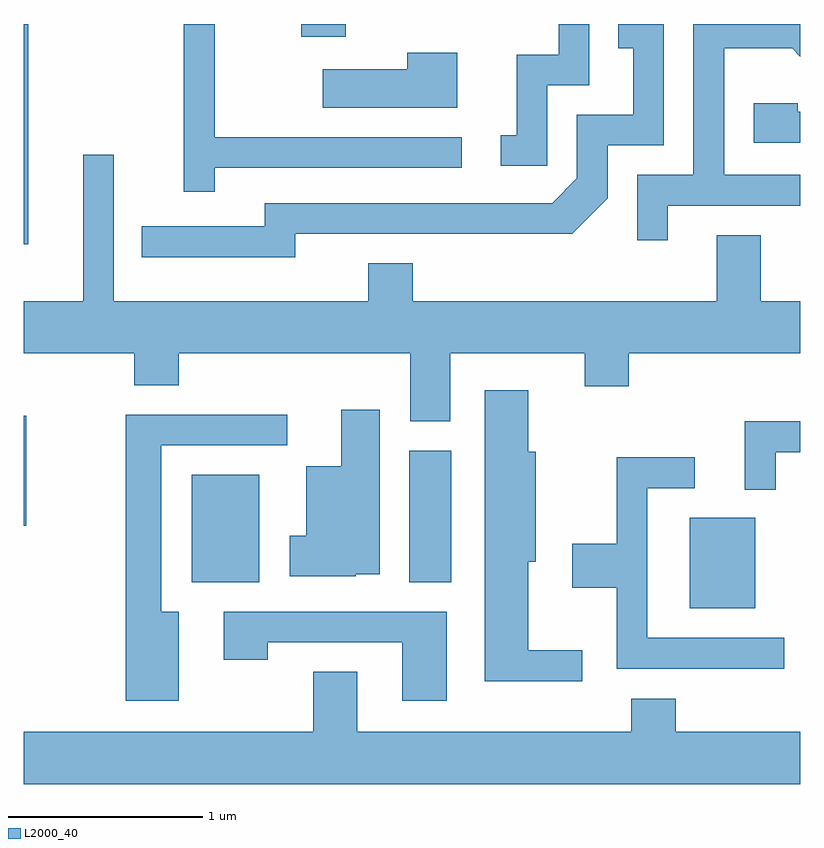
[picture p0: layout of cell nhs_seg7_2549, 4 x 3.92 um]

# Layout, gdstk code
import gdstk
lib = gdstk.Library(unit=1e-6, precision=1e-09)
def R(c, l, rs):  # rectangles x0, y0, x1, y1
    for r in rs: c.add(gdstk.rectangle(r[:2], r[2:], *l))
def P(c, l, *ps):  # polygons
    for p in ps: c.add(gdstk.Polygon(p, *l))
L2000_40 = (2000, 40)

nhs_seg7_2549 = lib.new_cell('nhs_seg7_2549')
R(nhs_seg7_2549, L2000_40, [(267.041,1695.241,267.379,1695.709), (264.476,1695.376,264.824,1695.929), (265.596,1695.376,265.814,1696.054), (263.611,1695.666,263.624,1696.234), (263.611,1697.116,263.634,1698.252), (265.041,1698.186,265.269,1698.252)])
P(nhs_seg7_2549, L2000_40, [(264.594,1697.511),(265.868,1697.511),(265.868,1697.669),(264.594,1697.669),(264.594,1698.252),(264.436,1698.252),(264.436,1697.388),(264.594,1697.388)],
  [(266.929,1697.316),(267.611,1697.316),(267.611,1697.474),(267.219,1697.474),(267.219,1698.126),(267.569,1698.126),(267.611,1698.084),(267.611,1698.252),(267.061,1698.252),(267.061,1697.474),(266.771,1697.474),(266.771,1697.138),(266.929,1697.138)],
  [(265.009,1697.171),(266.437,1697.171),(266.619,1697.354),(266.619,1697.626),(266.909,1697.626),(266.909,1698.252),(266.673,1698.252),(266.673,1698.126),(266.751,1698.126),(266.751,1697.784),(266.461,1697.784),(266.461,1697.457),(266.334,1697.329),(264.851,1697.329),(264.851,1697.209),(264.218,1697.209),(264.218,1697.051),(265.009,1697.051)],
  [(266.309,1697.936),(266.524,1697.936),(266.524,1698.252),(266.366,1698.252),(266.366,1698.094),(266.151,1698.094),(266.151,1697.679),(266.068,1697.679),(266.068,1697.521),(266.309,1697.521)],
  [(265.844,1698.104),(265.586,1698.104),(265.586,1698.019),(265.151,1698.019),(265.151,1697.821),(265.844,1697.821)],
  [(267.611,1697.799),(267.599,1697.799),(267.599,1697.844),(267.371,1697.844),(267.371,1697.641),(267.611,1697.641)],
  [(265.809,1696.556),(266.501,1696.556),(266.501,1696.386),(266.729,1696.386),(266.729,1696.556),(267.611,1696.556),(267.611,1696.824),(267.409,1696.824),(267.409,1697.164),(267.181,1697.164),(267.181,1696.824),(265.614,1696.824),(265.614,1697.019),(265.386,1697.019),(265.386,1696.824),(264.074,1696.824),(264.074,1697.578),(263.916,1697.578),(263.916,1696.824),(263.611,1696.824),(263.611,1696.556),(264.181,1696.556),(264.181,1696.391),(264.409,1696.391),(264.409,1696.556),(265.601,1696.556),(265.601,1696.206),(265.809,1696.206)],
  [(266.488,1695.024),(266.209,1695.024),(266.209,1695.481),(266.249,1695.481),(266.249,1696.049),(266.209,1696.049),(266.209,1696.364),(265.986,1696.364),(265.986,1694.866),(266.488,1694.866)],
  [(265.32,1695.416),(265.444,1695.416),(265.444,1696.264),(265.246,1696.264),(265.246,1695.974),(265.066,1695.974),(265.066,1695.614),(264.981,1695.614),(264.981,1695.406),(265.32,1695.406)],
  [(264.409,1695.224),(264.319,1695.224),(264.319,1696.081),(264.968,1696.081),(264.968,1696.239),(264.136,1696.239),(264.136,1694.766),(264.409,1694.766)],
  [(267.484,1696.046),(267.611,1696.046),(267.611,1696.204),(267.326,1696.204),(267.326,1695.853),(267.484,1695.853)],
  [(267.528,1695.089),(266.824,1695.089),(266.824,1695.861),(267.068,1695.861),(267.068,1696.019),(266.666,1696.019),(266.666,1695.574),(266.436,1695.574),(266.436,1695.346),(266.666,1695.346),(266.666,1694.931),(267.528,1694.931)],
  [(265.789,1695.224),(264.641,1695.224),(264.641,1694.976),(264.869,1694.976),(264.869,1695.066),(265.561,1695.066),(265.561,1694.766),(265.789,1694.766)],
  [(267.611,1694.604),(266.969,1694.604),(266.969,1694.774),(266.741,1694.774),(266.741,1694.604),(265.329,1694.604),(265.329,1694.914),(265.101,1694.914),(265.101,1694.604),(263.611,1694.604),(263.611,1694.336),(267.611,1694.336)])

lib.write_gds('nhs_seg7_2549.gds')
